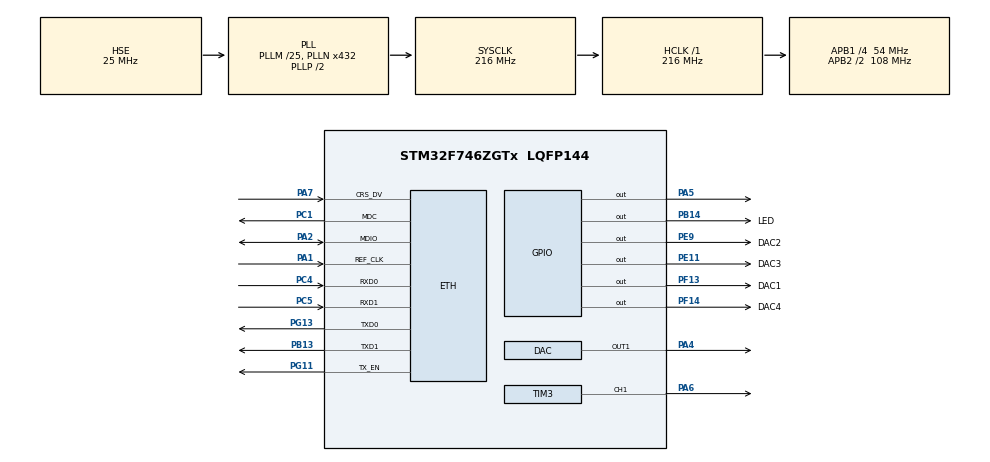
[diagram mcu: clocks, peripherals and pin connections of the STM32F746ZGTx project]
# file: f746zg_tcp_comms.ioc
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CORTEX_M7.AccessPermission-Cortex_Memory_Protection_Unit_Region0_Settings=MPU_REGION_FULL_ACCESS
CORTEX_M7.BaseAddress-Cortex_Memory_Protection_Unit_Region0_Settings=0x20010000
CORTEX_M7.CPU_DCache=Enabled
CORTEX_M7.CPU_ICache=Enabled
CORTEX_M7.DisableExec-Cortex_Memory_Protection_Unit_Region0_Settings=MPU_INSTRUCTION_ACCESS_DISABLE
CORTEX_M7.Enable-Cortex_Memory_Protection_Unit_Region0_Settings=MPU_REGION_ENABLE
CORTEX_M7.IsShareable-Cortex_Memory_Protection_Unit_Region0_Settings=MPU_ACCESS_SHAREABLE
CORTEX_M7.MPU_Control=MPU_PRIVILEGED_DEFAULT
CORTEX_M7.PREFETCH_ENABLE=1
CORTEX_M7.Size-Cortex_Memory_Protection_Unit_Region0_Settings=MPU_REGION_SIZE_32KB
CORTEX_M7.TypeExtField-Cortex_Memory_Protection_Unit_Region0_Settings=MPU_TEX_LEVEL1
ETH.MediaInterface=HAL_ETH_RMII_MODE
FREERTOS.Tasks01=conn_handler,55,256,start_conn_handler,Default,NULL,Dynamic,NULL,NULL;motor_control,55,128,start_motor_control,Default,NULL,Dynamic,NULL,NULL;tcp_thread,55,128,start_tcp_thread,Default,NULL,Dynamic,NULL,NULL;control_systems,55,128,start_control_systems,Default,NULL,Dynamic,NULL,NULL;can_thread,55,128,start_can_thread,Default,NULL,Dynamic,NULL,NULL
FREERTOS.configENABLE_FPU=1
FREERTOS.configUSE_NEWLIB_REENTRANT=1
LWIP.BSP.number=1
LWIP.CHECKSUM_GEN_TCP=1
LWIP.GATEWAY_ADDRESS=010.042.000.001
LWIP.IP_ADDRESS=010.042.000.032
LWIP.LWIP_DHCP=0
LWIP.LWIP_DNS=0
LWIP.LWIP_UDP=0
LWIP.MEM_SIZE=20*1024
LWIP.NETMASK_ADDRESS=255.255.255.000
LWIP.Version=v2.1.2_Cube
LWIP0.BSP.STBoard=false
LWIP0.BSP.api=BSP_COMPONENT_DRIVER
LWIP0.BSP.component=LAN8742
LWIP0.BSP.instance=LAN8742
LWIP0.BSP.name=Driver_PHY
LWIP0.BSP.semaphore=S_LAN8742
LWIP0.BSP.solution=LAN8742
Mcu.Family=STM32F7
Mcu.Name=STM32F746ZGTx
Mcu.Package=LQFP144
NVIC.ETH_IRQn=true\:5\:0\:false\:false\:true\:true\:true\:true\:true
NVIC.PriorityGroup=NVIC_PRIORITYGROUP_4
NVIC.TIM1_UP_TIM10_IRQn=true\:15\:0\:false\:false\:true\:false\:false\:true\:true
NVIC.TimeBase=TIM1_UP_TIM10_IRQn
NVIC.TimeBaseIP=TIM1
PA1.Mode=RMII
PA1.Signal=ETH_REF_CLK
PA2.Mode=RMII
PA2.Signal=ETH_MDIO
PA4.Signal=COMP_DAC1_group
PA5.Signal=GPIO_Output
PA6.Signal=S_TIM3_CH1
PA7.Mode=RMII
PA7.Signal=ETH_CRS_DV
PB13.Mode=RMII
PB13.Signal=ETH_TXD1
PB14.GPIO_Label=LED
PB14.Signal=GPIO_Output
PC1.Mode=RMII
PC1.Signal=ETH_MDC
PC4.Mode=RMII
PC4.Signal=ETH_RXD0
PC5.Mode=RMII
PC5.Signal=ETH_RXD1
PE11.GPIO_Label=DAC3
PE11.Signal=GPIO_Output
PE9.GPIO_Label=DAC2
PE9.Signal=GPIO_Output
PF13.GPIO_Label=DAC1
PF13.Signal=GPIO_Output
PF14.GPIO_Label=DAC4
PF14.Signal=GPIO_Output
PG11.Mode=RMII
PG11.Signal=ETH_TX_EN
PG13.Mode=RMII
PG13.Signal=ETH_TXD0
PH0/OSC_IN.Mode=HSE-External-Oscillator
PH0/OSC_IN.Signal=RCC_OSC_IN
PH1/OSC_OUT.Mode=HSE-External-Oscillator
PH1/OSC_OUT.Signal=RCC_OSC_OUT
ProjectManager.HeapSize=0x200
ProjectManager.StackSize=0x400
ProjectManager.TargetToolchain=STM32CubeIDE
RCC.AHBFreq_Value=216000000
RCC.APB1CLKDivider=RCC_HCLK_DIV4
RCC.APB1Freq_Value=54000000
RCC.APB1TimFreq_Value=108000000
RCC.APB2CLKDivider=RCC_HCLK_DIV2
RCC.APB2Freq_Value=108000000
RCC.APB2TimFreq_Value=216000000
RCC.CortexFreq_Value=216000000
RCC.HCLKFreq_Value=216000000
RCC.HSE_VALUE=25000000
RCC.HSI_VALUE=16000000
RCC.LSE_VALUE=32768
RCC.PLLM=25
RCC.PLLN=432
RCC.PLLSourceVirtual=RCC_PLLSOURCE_HSE
RCC.SYSCLKFreq_VALUE=216000000
RCC.SYSCLKSource=RCC_SYSCLKSOURCE_PLLCLK
RCC.USBFreq_Value=216000000
RCC.VCOOutputFreq_Value=432000000
SH.COMP_DAC1_group.0=DAC_OUT1,DAC_OUT1
SH.S_TIM3_CH1.0=TIM3_CH1,PWM Generation1 CH1
TIM3.Channel-PWM\ Generation1\ CH1=TIM_CHANNEL_1
VP_FREERTOS_VS_CMSIS_V2.Mode=CMSIS_V2
VP_LWIP_VS_Enabled.Mode=Enabled
VP_SYS_VS_tim1.Mode=TIM1
board=custom

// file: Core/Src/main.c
/* USER CODE BEGIN Header */
/**
  ******************************************************************************
  * @file           : main.c
  * @brief          : Main program body
  ******************************************************************************
  * @attention
  *
  * Copyright (c) 2022 STMicroelectronics.
  * All rights reserved.
  *
  * This software is licensed under terms that can be found in the LICENSE file
  * in the root directory of this software component.
  * If no LICENSE file comes with this software, it is provided AS-IS.
  *
  ******************************************************************************
  */
/* USER CODE END Header */
#include "main.h"
#include "cmsis_os.h"
#include "lwip.h"

/* USER CODE BEGIN Includes */
#include "lwip/api.h"
#include "lwip/netbuf.h"
#include "mdds30.h"
#include "DC_MOTOR_cfg.h"
#include "pid.h"
/* USER CODE END Includes */

DAC_HandleTypeDef hdac;

TIM_HandleTypeDef htim3;

/* Definitions for conn_handler */
osThreadId_t conn_handlerHandle;
const osThreadAttr_t conn_handler_attributes = {
  .name = "conn_handler",
  .stack_size = 256 * 4,
  .priority = (osPriority_t) osPriorityRealtime7,
};
/* Definitions for motor_control */
osThreadId_t motor_controlHandle;
const osThreadAttr_t motor_control_attributes = {
  .name = "motor_control",
  .stack_size = 128 * 4,
  .priority = (osPriority_t) osPriorityRealtime7,
};
/* Definitions for tcp_thread */
osThreadId_t tcp_threadHandle;
const osThreadAttr_t tcp_thread_attributes = {
  .name = "tcp_thread",
  .stack_size = 128 * 4,
  .priority = (osPriority_t) osPriorityRealtime7,
};
/* Definitions for control_systems */
osThreadId_t control_systemsHandle;
const osThreadAttr_t control_systems_attributes = {
  .name = "control_systems",
  .stack_size = 128 * 4,
  .priority = (osPriority_t) osPriorityRealtime7,
};
/* Definitions for can_thread */
osThreadId_t can_threadHandle;
const osThreadAttr_t can_thread_attributes = {
  .name = "can_thread",
  .stack_size = 128 * 4,
  .priority = (osPriority_t) osPriorityRealtime7,
};
/* USER CODE BEGIN PV */
struct netconn *conn, *newconn;
uint8_t listening = 0;
uint8_t connected = 0;

uint8_t motor_dir = DIR_ACW;
uint16_t motor_speed = 0;

float dac_voltage = 0;
/* USER CODE END PV */

void SystemClock_Config(void);
static void MPU_Config(void);
static void MX_GPIO_Init(void);
static void MX_TIM3_Init(void);
static void MX_DAC_Init(void);
void start_conn_handler(void *argument);
void start_motor_control(void *argument);
void start_tcp_thread(void *argument);
void start_control_systems(void *argument);
void start_can_thread(void *argument);

int main(void)
{

  /* MPU Configuration--------------------------------------------------------*/
  MPU_Config();

  /* Enable I-Cache---------------------------------------------------------*/
  SCB_EnableICache();

  /* Enable D-Cache---------------------------------------------------------*/
  SCB_EnableDCache();

  /* MCU Configuration--------------------------------------------------------*/

  /* Reset of all peripherals, Initializes the Flash interface and the Systick. */
  HAL_Init();

  /* Configure the system clock */
  SystemClock_Config();

  /* Initialize all configured peripherals */
  MX_GPIO_Init();
  MX_TIM3_Init();
  MX_DAC_Init();

  /* Init scheduler */
  osKernelInitialize();

  /* Create the thread(s) */
  /* creation of conn_handler */
  conn_handlerHandle = osThreadNew(start_conn_handler, NULL, &conn_handler_attributes);

  /* creation of motor_control */
  motor_controlHandle = osThreadNew(start_motor_control, NULL, &motor_control_attributes);

  /* creation of tcp_thread */
  tcp_threadHandle = osThreadNew(start_tcp_thread, NULL, &tcp_thread_attributes);

  /* creation of control_systems */
  control_systemsHandle = osThreadNew(start_control_systems, NULL, &control_systems_attributes);

  /* creation of can_thread */
  can_threadHandle = osThreadNew(start_can_thread, NULL, &can_thread_attributes);

  /* Start scheduler */
  osKernelStart();

  /* We should never get here as control is now taken by the scheduler */
  /* Infinite loop */
  while (1)
  {

  }
}

void SystemClock_Config(void)
{
  RCC_OscInitTypeDef RCC_OscInitStruct = {0};
  RCC_ClkInitTypeDef RCC_ClkInitStruct = {0};

  /** Configure the main internal regulator output voltage
  */
  __HAL_RCC_PWR_CLK_ENABLE();
  __HAL_PWR_VOLTAGESCALING_CONFIG(PWR_REGULATOR_VOLTAGE_SCALE1);

  /** Initializes the RCC Oscillators according to the specified parameters
  * in the RCC_OscInitTypeDef structure.
  */
  RCC_OscInitStruct.OscillatorType = RCC_OSCILLATORTYPE_HSE;
  RCC_OscInitStruct.HSEState = RCC_HSE_ON;
  RCC_OscInitStruct.PLL.PLLState = RCC_PLL_ON;
  RCC_OscInitStruct.PLL.PLLSource = RCC_PLLSOURCE_HSE;
  RCC_OscInitStruct.PLL.PLLM = 25;
  RCC_OscInitStruct.PLL.PLLN = 432;
  RCC_OscInitStruct.PLL.PLLP = RCC_PLLP_DIV2;
  RCC_OscInitStruct.PLL.PLLQ = 2;
  if (HAL_RCC_OscConfig(&RCC_OscInitStruct) != HAL_OK)
  {
    Error_Handler();
  }

  /** Activate the Over-Drive mode
  */
  if (HAL_PWREx_EnableOverDrive() != HAL_OK)
  {
    Error_Handler();
  }

  /** Initializes the CPU, AHB and APB buses clocks
  */
  RCC_ClkInitStruct.ClockType = RCC_CLOCKTYPE_HCLK|RCC_CLOCKTYPE_SYSCLK
                              |RCC_CLOCKTYPE_PCLK1|RCC_CLOCKTYPE_PCLK2;
  RCC_ClkInitStruct.SYSCLKSource = RCC_SYSCLKSOURCE_PLLCLK;
  RCC_ClkInitStruct.AHBCLKDivider = RCC_SYSCLK_DIV1;
  RCC_ClkInitStruct.APB1CLKDivider = RCC_HCLK_DIV4;
  RCC_ClkInitStruct.APB2CLKDivider = RCC_HCLK_DIV2;

  if (HAL_RCC_ClockConfig(&RCC_ClkInitStruct, FLASH_LATENCY_7) != HAL_OK)
  {
    Error_Handler();
  }
}

static void MX_DAC_Init(void)
{

  DAC_ChannelConfTypeDef sConfig = {0};

  /** DAC Initialization
  */
  hdac.Instance = DAC;
  if (HAL_DAC_Init(&hdac) != HAL_OK)
  {
    Error_Handler();
  }

  /** DAC channel OUT1 config
  */
  sConfig.DAC_Trigger = DAC_TRIGGER_NONE;
  sConfig.DAC_OutputBuffer = DAC_OUTPUTBUFFER_ENABLE;
  if (HAL_DAC_ConfigChannel(&hdac, &sConfig, DAC_CHANNEL_1) != HAL_OK)
  {
    Error_Handler();
  }

}

static void MX_TIM3_Init(void)
{

  TIM_MasterConfigTypeDef sMasterConfig = {0};
  TIM_OC_InitTypeDef sConfigOC = {0};

  htim3.Instance = TIM3;
  htim3.Init.Prescaler = 0;
  htim3.Init.CounterMode = TIM_COUNTERMODE_UP;
  htim3.Init.Period = 65535;
  htim3.Init.ClockDivision = TIM_CLOCKDIVISION_DIV1;
  htim3.Init.AutoReloadPreload = TIM_AUTORELOAD_PRELOAD_DISABLE;
  if (HAL_TIM_PWM_Init(&htim3) != HAL_OK)
  {
    Error_Handler();
  }
  sMasterConfig.MasterOutputTrigger = TIM_TRGO_RESET;
  sMasterConfig.MasterSlaveMode = TIM_MASTERSLAVEMODE_DISABLE;
  if (HAL_TIMEx_MasterConfigSynchronization(&htim3, &sMasterConfig) != HAL_OK)
  {
    Error_Handler();
  }
  sConfigOC.OCMode = TIM_OCMODE_PWM1;
  sConfigOC.Pulse = 0;
  sConfigOC.OCPolarity = TIM_OCPOLARITY_HIGH;
  sConfigOC.OCFastMode = TIM_OCFAST_DISABLE;
  if (HAL_TIM_PWM_ConfigChannel(&htim3, &sConfigOC, TIM_CHANNEL_1) != HAL_OK)
  {
    Error_Handler();
  }
  HAL_TIM_MspPostInit(&htim3);

}

static void MX_GPIO_Init(void)
{
  GPIO_InitTypeDef GPIO_InitStruct = {0};

  /* GPIO Ports Clock Enable */
  __HAL_RCC_GPIOH_CLK_ENABLE();
  __HAL_RCC_GPIOC_CLK_ENABLE();
  __HAL_RCC_GPIOA_CLK_ENABLE();
  __HAL_RCC_GPIOF_CLK_ENABLE();
  __HAL_RCC_GPIOE_CLK_ENABLE();
  __HAL_RCC_GPIOB_CLK_ENABLE();
  __HAL_RCC_GPIOG_CLK_ENABLE();

  /*Configure GPIO pin Output Level */
  HAL_GPIO_WritePin(GPIOA, GPIO_PIN_5, GPIO_PIN_RESET);

  /*Configure GPIO pin Output Level */
  HAL_GPIO_WritePin(GPIOF, DAC1_Pin|DAC4_Pin, GPIO_PIN_RESET);

  /*Configure GPIO pin Output Level */
  HAL_GPIO_WritePin(GPIOE, DAC2_Pin|DAC3_Pin, GPIO_PIN_RESET);

  /*Configure GPIO pin Output Level */
  HAL_GPIO_WritePin(LED_GPIO_Port, LED_Pin, GPIO_PIN_RESET);

  /*Configure GPIO pin : PA5 */
  GPIO_InitStruct.Pin = GPIO_PIN_5;
  GPIO_InitStruct.Mode = GPIO_MODE_OUTPUT_PP;
  GPIO_InitStruct.Pull = GPIO_NOPULL;
  GPIO_InitStruct.Speed = GPIO_SPEED_FREQ_LOW;
  HAL_GPIO_Init(GPIOA, &GPIO_InitStruct);

  /*Configure GPIO pins : DAC1_Pin DAC4_Pin */
  GPIO_InitStruct.Pin = DAC1_Pin|DAC4_Pin;
  GPIO_InitStruct.Mode = GPIO_MODE_OUTPUT_PP;
  GPIO_InitStruct.Pull = GPIO_NOPULL;
  GPIO_InitStruct.Speed = GPIO_SPEED_FREQ_LOW;
  HAL_GPIO_Init(GPIOF, &GPIO_InitStruct);

  /*Configure GPIO pins : DAC2_Pin DAC3_Pin */
  GPIO_InitStruct.Pin = DAC2_Pin|DAC3_Pin;
  GPIO_InitStruct.Mode = GPIO_MODE_OUTPUT_PP;
  GPIO_InitStruct.Pull = GPIO_NOPULL;
  GPIO_InitStruct.Speed = GPIO_SPEED_FREQ_LOW;
  HAL_GPIO_Init(GPIOE, &GPIO_InitStruct);

  /*Configure GPIO pin : LED_Pin */
  GPIO_InitStruct.Pin = LED_Pin;
  GPIO_InitStruct.Mode = GPIO_MODE_OUTPUT_PP;
  GPIO_InitStruct.Pull = GPIO_NOPULL;
  GPIO_InitStruct.Speed = GPIO_SPEED_FREQ_LOW;
  HAL_GPIO_Init(LED_GPIO_Port, &GPIO_InitStruct);

}

/* USER CODE BEGIN 4 */
void netconn_init(struct netconn *conn_to_init) {
  ip_addr_t local_ip;
  IP4_ADDR(&local_ip, 10, 42, 0, 32);

  err_t err;
  do {
    err = netconn_bind(conn_to_init, &local_ip, 30);
  } while (err != ERR_OK);

  do {
    err = netconn_listen(conn_to_init);
  } while (err != ERR_OK);

  listening = 1;
}
/* USER CODE END 4 */

void start_conn_handler(void *argument)
{
  /* init code for LWIP */
  MX_LWIP_Init();
  /* USER CODE BEGIN 5 */
  /* Infinite loop */

  tcpclient_init();
  for (;;) {
    osDelay(1);
  }
  /* USER CODE END 5 */
}

void start_motor_control(void *argument)
{
  /* USER CODE BEGIN start_motor_control */

	// 0 -> LEFT_MOTOR
	// 1 -> RIGHT_MOTOR
  DC_MOTOR_Init(DC_MOTOR_CfgParam[0]);
  DC_MOTOR_Init(DC_MOTOR_CfgParam[1]);
  /* Infinite loop */
  for(;;)
  {
    set_idx(motor_speed);
    DC_MOTOR_Start(DC_MOTOR_CfgParam[0], motor_dir, motor_speed);
    osDelay(1);
  }
  /* USER CODE END start_motor_control */
}

void start_tcp_thread(void *argument)
{
  /* USER CODE BEGIN start_tcp_thread */
  struct netif *gnetif = get_static_netif();
  ethernetif_input(gnetif);
  sys_check_timeouts();

  /* Infinite loop */
  for(;;)
  {
    osDelay(1);
  }
  /* USER CODE END start_tcp_thread */
}

void start_control_systems(void *argument)
{
  /* USER CODE BEGIN start_control_systems */
  float *linear_x_ptr = get_linear_x();
  float *angular_z_ptr = get_angular_z();

  /* Infinite loop */
  for(;;)
  {
	float angular_z = *angular_z_ptr;
	if (angular_z > 0) {
		motor_dir = DIR_CW;
	} else {
		motor_dir = DIR_ACW;
		angular_z *= -1;
	}

	if (angular_z >= 1){
		angular_z = 1;
	}
	motor_speed = 65535*angular_z;
    int m = (*linear_x_ptr) * 100;

    float linear_x = *linear_x_ptr;
    if (linear_x < 0) {
        linear_x *= -1;
    }
    if (linear_x > 1) {
    	linear_x = 1;
    }

    dac_voltage = linear_x*3.3;
    osDelay(1);
  }
  /* USER CODE END start_control_systems */
}

void start_can_thread(void *argument)
{
  for(;;)
  {
    osDelay(1);
  }
}

/* MPU Configuration */

void MPU_Config(void)
{
  MPU_Region_InitTypeDef MPU_InitStruct = {0};

  /* Disables the MPU */
  HAL_MPU_Disable();

  /** Initializes and configures the Region and the memory to be protected
  */
  MPU_InitStruct.Enable = MPU_REGION_ENABLE;
  MPU_InitStruct.Number = MPU_REGION_NUMBER0;
  MPU_InitStruct.BaseAddress = 0x20010000;
  MPU_InitStruct.Size = MPU_REGION_SIZE_32KB;
  MPU_InitStruct.SubRegionDisable = 0x0;
  MPU_InitStruct.TypeExtField = MPU_TEX_LEVEL1;
  MPU_InitStruct.AccessPermission = MPU_REGION_FULL_ACCESS;
  MPU_InitStruct.DisableExec = MPU_INSTRUCTION_ACCESS_DISABLE;
  MPU_InitStruct.IsShareable = MPU_ACCESS_SHAREABLE;
  MPU_InitStruct.IsCacheable = MPU_ACCESS_NOT_CACHEABLE;
  MPU_InitStruct.IsBufferable = MPU_ACCESS_NOT_BUFFERABLE;

  HAL_MPU_ConfigRegion(&MPU_InitStruct);
  /* Enables the MPU */
  HAL_MPU_Enable(MPU_PRIVILEGED_DEFAULT);

}

void HAL_TIM_PeriodElapsedCallback(TIM_HandleTypeDef *htim)
{
  if (htim->Instance == TIM1) {
    HAL_IncTick();
  }
}

void Error_Handler(void)
{
  __disable_irq();
  while (1)
  {
  }
}
